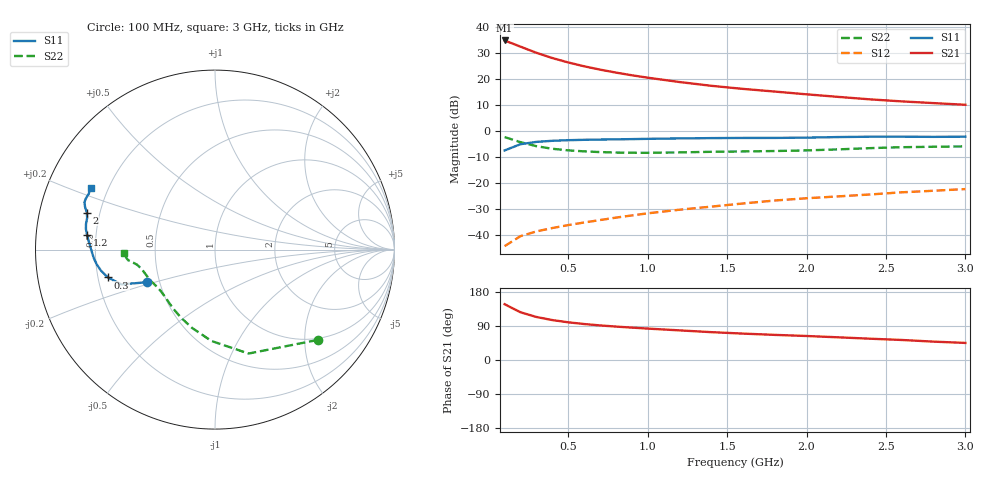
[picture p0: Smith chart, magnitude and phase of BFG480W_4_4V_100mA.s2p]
! Filename: 4_4100BFG480.001
! Title: BFG480W
! Bias: Vce=4.4V; Ic=100mA
! Company: Philips Semiconductors NL
! User: Quality&Reliability T&D
! Measure time: 10 Nov 1999 / 12:07:04
#  MHz  S  MA  R 50
! Freq  S11  S21  S12  S22  :
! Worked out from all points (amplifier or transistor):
!   20 points, 100 MHz to 3 GHz, reference 50 ohm
!   highest |S21| = 34.7 dB at 100 MHz (marker M1)
!   |S21| within 3 dB of that: start of sweep to 226.5 MHz
!   unconditionally stable (mu >= 1): 725.3 MHz to end of sweep
!   at 400 MHz: K = 0.80, MSG = 32.6 dB, |S12| = -37.2 dB
!   at 1.2 GHz: K = 1.07, MAG = 22.8 dB, |S12| = -30.2 dB
!   at 3 GHz: K = 1.04, MAG = 14.9 dB, |S12| = -22.3 dB
!   S11 on the Smith chart (normalised r, x): 100 MHz: 0.42, -0.19; 300 MHz: 0.24, -0.12; 1.2 GHz: 0.16, +0.06; 2 GHz: 0.15, +0.14; 3 GHz: 0.13, +0.23
100  0.4225 -154.5  54.19 147.2  0.006175 68.5  0.7616 -41.4
200  0.5563 -159.6  41.2 125.9  0.009615 60.6  0.6086 -72.1
300  0.6163 -165.4  31.45 113.5  0.01183 59.2  0.5094 -92.3
400  0.6463 -169.6  24.96 105.4  0.01374 60.8  0.4548 -106.3
500  0.6638 -172.8  20.54 99.5  0.01565 62.7  0.424 -116.5
600  0.675 -175.5  17.33 95.0  0.01755 64.7  0.4053 -124.0
700  0.6827 -177.8  14.97 91.3  0.01955 66.9  0.393 -130.0
800  0.6894 -179.9  13.13 88.2  0.02175 68.8  0.3851 -134.9
900  0.6963 178.2  11.67 85.5  0.02395 70.7  0.3812 -139.2
1000  0.7046 176.4  10.49 82.9  0.0263 71.6  0.3805 -143.0
1200  0.7179 173.4  8.656 78.2  0.03084 73.3  0.3873 -149.2
1400  0.728 171.1  7.329 73.5  0.03536 74.3  0.3976 -153.8
1600  0.7329 168.7  6.392 69.7  0.04063 75.1  0.404 -157.3
1800  0.7338 166.1  5.681 66.3  0.04631 75.7  0.4116 -161.0
2000  0.7433 163.9  5.029 63.3  0.05116 76.4  0.423 -165.4
2200  0.7625 161.8  4.489 59.9  0.05558 76.3  0.4427 -169.1
2400  0.7737 160.0  4.025 56.2  0.06047 75.8  0.4676 -171.5
2600  0.7738 158.4  3.68 52.8  0.06656 75.2  0.4871 -173.0
2800  0.7691 156.1  3.412 48.5  0.07131 73.8  0.497 -174.8
3000  0.7741 153.5  3.17 45.1  0.07674 73.0  0.5048 -177.6
